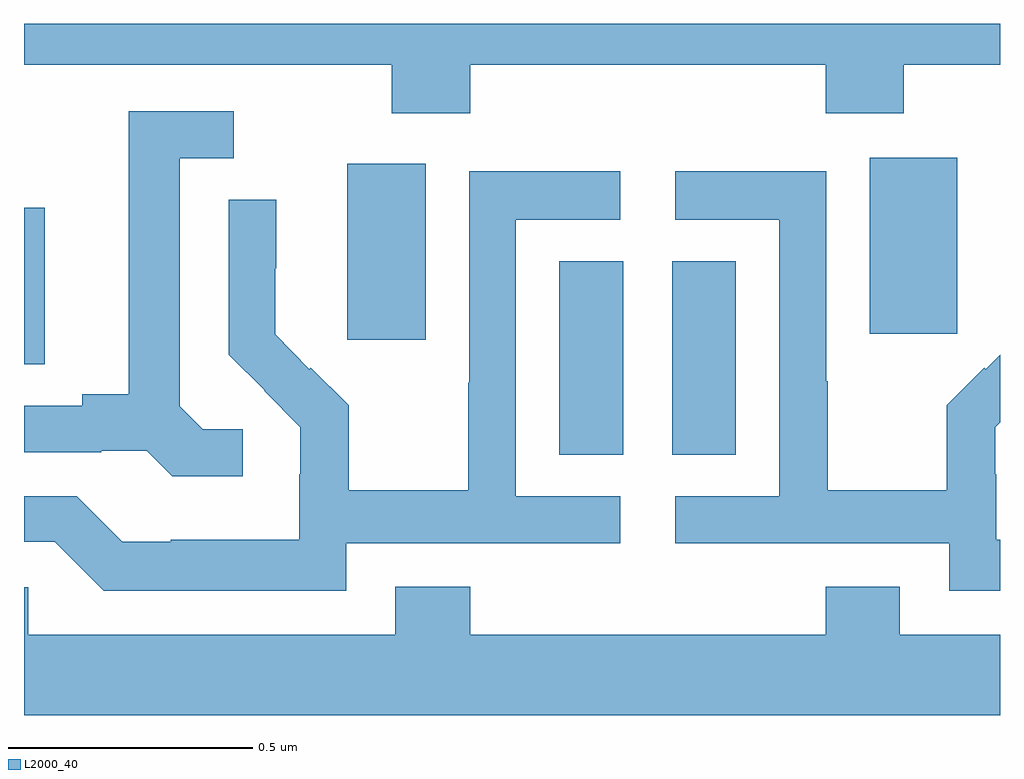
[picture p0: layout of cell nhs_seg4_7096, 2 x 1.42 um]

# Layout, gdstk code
import gdstk
lib = gdstk.Library(unit=1e-6, precision=1e-09)
def R(c, l, rs):  # rectangles x0, y0, x1, y1
    for r in rs: c.add(gdstk.rectangle(r[:2], r[2:], *l))
def P(c, l, *ps):  # polygons
    for p in ps: c.add(gdstk.Polygon(p, *l))
L2000_40 = (2000, 40)

nhs_seg4_7096 = lib.new_cell('nhs_seg4_7096')
R(nhs_seg4_7096, L2000_40, [(199.097,800.017,199.228,800.414), (199.328,800.017,199.459,800.414), (198,800.203,198.043,800.523), (198.662,800.253,198.823,800.614), (199.733,800.265,199.912,800.626)])
P(nhs_seg4_7096, L2000_40, [(198.914,800.816),(199.643,800.816),(199.643,800.717),(199.803,800.717),(199.803,800.816),(200,800.816),(200,800.9),(198,800.9),(198,800.816),(198.754,800.816),(198.754,800.717),(198.914,800.717)],
  [(198.448,800.07),(198.366,800.07),(198.319,800.117),(198.319,800.625),(198.43,800.625),(198.43,800.721),(198.215,800.721),(198.215,800.141),(198.119,800.141),(198.119,800.118),(198,800.118),(198,800.022),(198.158,800.022),(198.158,800.025),(198.252,800.025),(198.304,799.973),(198.448,799.973)],
  [(198.66,799.836),(199.222,799.836),(199.222,799.932),(199.008,799.932),(199.008,800.499),(199.222,800.499),(199.222,800.598),(198.912,800.598),(198.912,800.165),(198.91,800.165),(198.91,799.945),(198.665,799.945),(198.665,800.119),(198.588,800.196),(198.585,800.193),(198.515,800.264),(198.515,800.399),(198.517,800.399),(198.517,800.54),(198.42,800.54),(198.42,800.222),(198.493,800.149),(198.492,800.148),(198.566,800.074),(198.566,799.977),(198.564,799.977),(198.564,799.843),(198.301,799.843),(198.301,799.839),(198.201,799.839),(198.108,799.932),(198,799.932),(198,799.839),(198.063,799.839),(198.163,799.739),(198.66,799.739)],
  [(200,799.843),(199.992,799.843),(199.992,799.977),(199.99,799.977),(199.99,800.074),(200,800.084),(200,800.222),(199.971,800.193),(199.968,800.196),(199.891,800.119),(199.891,799.945),(199.647,799.945),(199.647,800.168),(199.644,800.168),(199.644,800.598),(199.335,800.598),(199.335,800.499),(199.548,800.499),(199.548,799.932),(199.335,799.932),(199.335,799.836),(199.896,799.836),(199.896,799.739),(200,799.739)],
  [(200,799.648),(199.795,799.648),(199.795,799.747),(199.643,799.747),(199.643,799.648),(198.914,799.648),(198.914,799.747),(198.761,799.747),(198.761,799.648),(198.009,799.648),(198.009,799.746),(198,799.746),(198,799.484),(200,799.484)])

lib.write_gds('nhs_seg4_7096.gds')
